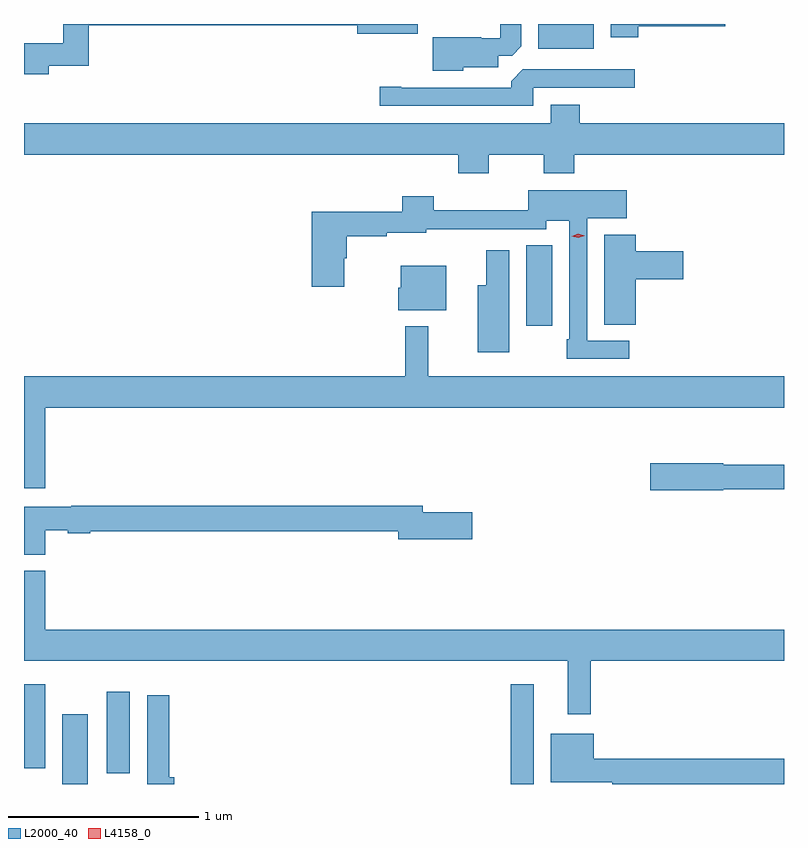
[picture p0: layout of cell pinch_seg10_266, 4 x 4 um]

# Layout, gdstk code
import gdstk
lib = gdstk.Library(unit=1e-6, precision=1e-09)
def R(c, l, rs):  # rectangles x0, y0, x1, y1
    for r in rs: c.add(gdstk.rectangle(r[:2], r[2:], *l))
def P(c, l, *ps):  # polygons
    for p in ps: c.add(gdstk.Polygon(p, *l))
L2000_40 = (2000, 40)
L4158_0 = (4158, 0)

pinch_seg10_266 = lib.new_cell('pinch_seg10_266')
R(pinch_seg10_266, L2000_40, [(506.564,1298.335,506.698,1298.701), (508.926,1298.335,509.047,1298.86), (506.798,1298.391,506.92,1298.821), (506.363,1298.418,506.476,1298.86), (509.006,1300.746,509.143,1301.171), (509.069,1302.206,509.362,1302.335)])
P(pinch_seg10_266, L2000_40, [(509.597,1302.323),(510.055,1302.323),(510.055,1302.335),(509.45,1302.335),(509.45,1302.264),(509.597,1302.264)],
  [(508.674,1302.107),(508.858,1302.107),(508.858,1302.168),(508.932,1302.168),(508.981,1302.217),(508.981,1302.335),(508.869,1302.335),(508.869,1302.261),(508.769,1302.261),(508.769,1302.265),(508.514,1302.265),(508.514,1302.089),(508.674,1302.089)],
  [(506.494,1302.114),(506.705,1302.114),(506.705,1302.328),(508.116,1302.328),(508.116,1302.284),(508.435,1302.284),(508.435,1302.335),(506.569,1302.335),(506.569,1302.235),(506.363,1302.235),(506.363,1302.071),(506.494,1302.071)],
  [(509.043,1302),(509.578,1302),(509.578,1302.096),(508.989,1302.096),(508.928,1302.034),(508.928,1302),(508.348,1302),(508.348,1302.005),(508.236,1302.005),(508.236,1301.904),(509.043,1301.904)],
  [(508.809,1301.648),(509.098,1301.648),(509.098,1301.549),(509.258,1301.549),(509.258,1301.648),(510.363,1301.648),(510.363,1301.812),(509.288,1301.812),(509.288,1301.911),(509.135,1301.911),(509.135,1301.812),(506.363,1301.812),(506.363,1301.648),(508.649,1301.648),(508.649,1301.549),(508.809,1301.549)],
  [(509.548,1300.668),(509.328,1300.668),(509.328,1301.312),(509.536,1301.312),(509.536,1301.461),(509.016,1301.461),(509.016,1301.354),(508.52,1301.354),(508.52,1301.428),(508.355,1301.428),(508.355,1301.347),(507.878,1301.347),(507.878,1300.953),(508.048,1300.953),(508.048,1301.103),(508.061,1301.103),(508.061,1301.218),(508.271,1301.218),(508.271,1301.237),(508.479,1301.237),(508.479,1301.255),(508.7,1301.255),(508.7,1301.256),(509.112,1301.256),(509.112,1301.3),(509.232,1301.3),(509.232,1300.675),(509.22,1300.675),(509.22,1300.572),(509.548,1300.572)],
  [(509.584,1300.991),(509.833,1300.991),(509.833,1301.138),(509.584,1301.138),(509.584,1301.227),(509.417,1301.227),(509.417,1300.753),(509.584,1300.753)],
  [(508.918,1301.143),(508.796,1301.143),(508.796,1300.96),(508.751,1300.96),(508.751,1300.608),(508.918,1300.608)],
  [(508.585,1301.062),(508.346,1301.062),(508.346,1300.947),(508.334,1300.947),(508.334,1300.829),(508.585,1300.829)],
  [(506.474,1300.316),(510.363,1300.316),(510.363,1300.48),(508.49,1300.48),(508.49,1300.744),(508.369,1300.744),(508.369,1300.48),(506.363,1300.48),(506.363,1299.891),(506.474,1299.891)],
  [(510.042,1299.886),(510.363,1299.886),(510.363,1300.015),(510.042,1300.015),(510.042,1300.023),(509.658,1300.023),(509.658,1299.881),(510.042,1299.881)],
  [(506.476,1299.671),(506.592,1299.671),(506.592,1299.656),(506.712,1299.656),(506.712,1299.664),(508.334,1299.664),(508.334,1299.622),(508.723,1299.622),(508.723,1299.764),(508.462,1299.764),(508.462,1299.8),(506.612,1299.8),(506.612,1299.793),(506.363,1299.793),(506.363,1299.542),(506.476,1299.542)],
  [(509.347,1298.984),(510.363,1298.984),(510.363,1299.148),(506.474,1299.148),(506.474,1299.457),(506.363,1299.457),(506.363,1298.984),(509.225,1298.984),(509.225,1298.703),(509.347,1298.703)],
  [(507.155,1298.371),(507.128,1298.371),(507.128,1298.803),(507.012,1298.803),(507.012,1298.335),(507.155,1298.335)],
  [(510.363,1298.468),(509.362,1298.468),(509.362,1298.599),(509.135,1298.599),(509.135,1298.345),(509.458,1298.345),(509.458,1298.335),(510.363,1298.335)])
P(pinch_seg10_266, L4158_0, [(509.28,1301.21),(509.245,1301.218),(509.245,1301.218),(509.245,1301.218),(509.279,1301.23),(509.314,1301.221),(509.314,1301.221),(509.314,1301.221)])

lib.write_gds('pinch_seg10_266.gds')
